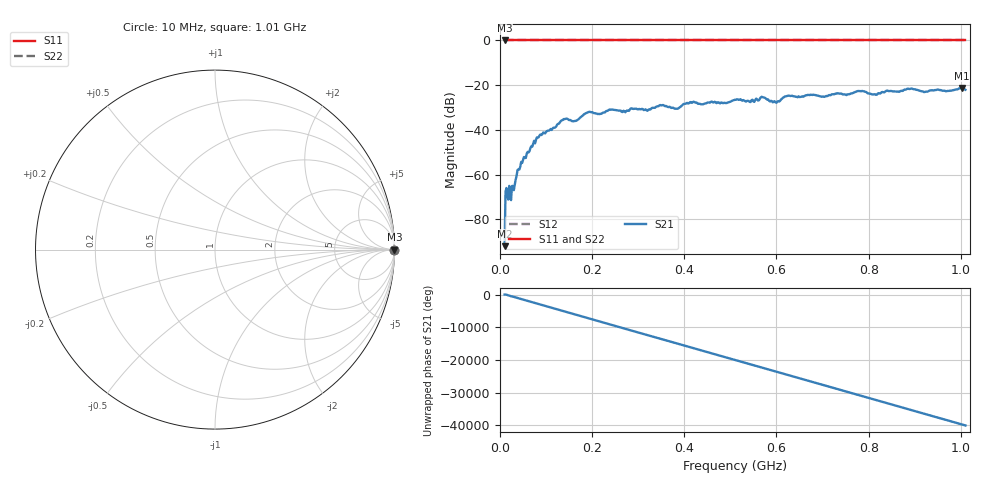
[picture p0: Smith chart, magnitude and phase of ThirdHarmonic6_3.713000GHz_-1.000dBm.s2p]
! 8/17/2025 12:38:56 PM
! C:\ANRITSUVNA\TEMP\TEMP.S2P
! CHANNEL.1
! TR.MEASUREMENT
! RAW.DATA
! RF.CORRECTION.OFF
! AVERAGING.OFF
! IF.BANDWIDTH: 5KHZ
! SWEEPTYPE:  FREQ.SWEEP(Linear)
! Reference Plane Port Info
! PORT:  PORT1  PORT2
! DISTANCE:  0  m  0  m
! TIME:  0  s  0  s
! PHASE.OFFSET:  0  deg.  0  deg.
! LOSS:  0  dB  0  dB
! REF.LOSS:  0  dB  0  dB
! REF.FREQ:  0  Hz  0  Hz
! Power Info
! POWER:  -20  dBm  -20  dBm
! EFF.POWER:  -20  dBm  -20  dBm
! SOURCE.ATTEN:  0  dB  0  dB
! TEST.ATTEN:  0  dB  0  dB
# GHZ S RI R 50.0
! FREQ.GHZ  S11RE  S11IM  S21RE  S21IM  S12RE  S12IM  S22RE  S22IM
!; PortSelection: Port_12
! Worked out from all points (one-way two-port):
!   501 points, 10 MHz to 1.01 GHz, reference 50 ohm
!   highest |S21| = -21.29 dB at 1.002 GHz (marker M1); lowest = -92.0 dB at 10 MHz (marker M2)
!   lowest |S11| = 0.0 dB at 10 MHz (marker M3)
!   |S11| at or under -10 dB: nowhere
!   |S22| runs from 0.0 to 0.0 dB; largest |S21 - S12| = 1.1
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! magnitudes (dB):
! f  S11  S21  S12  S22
! 10 MHz  0.0  -92.0  0.0  0.0
! 16 MHz  0.0  -69.4  0.0  0.0
! 20 MHz  0.0  -65.1  0.0  0.0
! 26 MHz  0.0  -65.1  0.0  0.0
! 48 MHz  0.0  -54.8  0.0  0.0
! 84 MHz  0.0  -43.3  0.0  0.0
! 136 MHz  0.0  -35.6  0.0  0.0
! 162 MHz  0.0  -36.0  0.0  0.0
! 178 MHz  0.0  -33.8  0.0  0.0
! 194 MHz  0.0  -31.9  0.0  0.0
! 322 MHz  0.0  -31.0  0.0  0.0
! 344 MHz  0.0  -29.4  0.0  0.0
! 382 MHz  0.0  -30.5  0.0  0.0
! 416 MHz  0.0  -27.9  0.0  0.0
! 510 MHz  0.0  -26.5  0.0  0.0
! 570 MHz  0.0  -25.4  0.0  0.0
! 602 MHz  0.0  -27.3  0.0  0.0
! 622 MHz  0.0  -24.9  0.0  0.0
! 678 MHz  0.0  -24.4  0.0  0.0
! 844 MHz  0.0  -22.7  0.0  0.0
! 1.002 GHz  0.0  -21.3  0.0  0.0
! 1.01 GHz  0.0  -22.0  0.0  0.0
